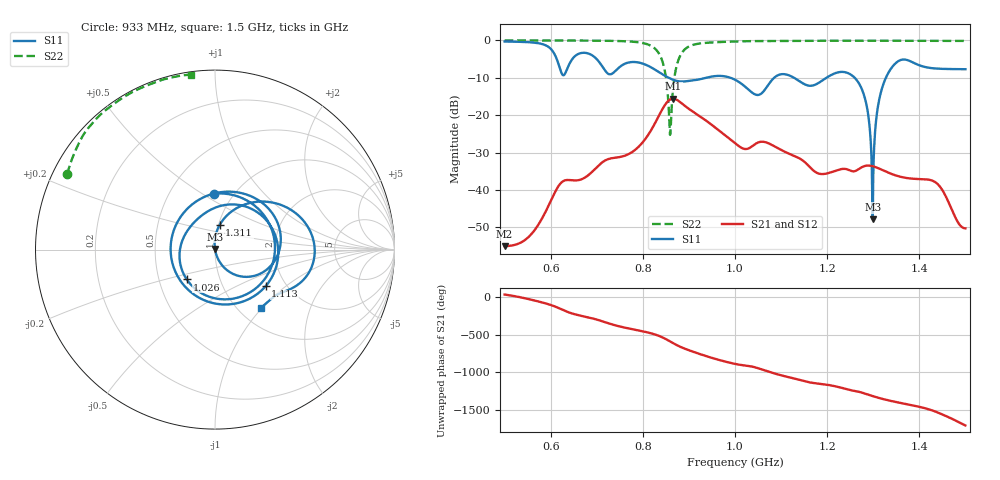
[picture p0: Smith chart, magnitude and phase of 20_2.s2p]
! TOUCHSTONE file generated by CST MICROWAVE STUDIO
! Date and time: Mon Nov 30 09:08:24 2020
! Project name: Scenario_1_Planar_Body_Tissue_Out_of_Line_v2.cst
! Parameters = {dy1=-17.3; L_HA=400; Ltissue=700; MT=2.54; Rad_Dielectric=30; Rad_Lower=7.3; Rad_Upper=30; Wtissue=700; a_HA=580; a_WG=246; b_HA=500; b_WG=121; c_HA=0; c_WG=187; d_feed=85; dx1=346; h_feed=15; h_lower=18; h_upper=40; hfat=3; hgap=25; hmuscle=50; hskin=1.5}
! Header version: 2018
! Port assignment regex: !\s*Touchstone port\s*([0-9]+)\s*=\s*(CST MWS port|CST DS port)\s*([0-9]+|Zmin|Zmax)\s*\(\"(.*)\"\)(\s*mode\s*([0-9]+))?.*
! Touchstone port assignment:
! Touchstone port 1 = CST MWS port 1 ("")
! Touchstone port 2 = CST MWS port 2 ("")
# GHz S DB R 50
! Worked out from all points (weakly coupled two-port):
!   1003 points, 500 MHz to 1.5 GHz, reference 50 ohm
!   highest |S21| = -15.58 dB at 866 MHz (marker M1); lowest = -55.0 dB at 500 MHz (marker M2)
!   lowest |S11| = -47.8 dB at 1.299 GHz (marker M3), VSWR 1.01, Z = 50 + j0.405 ohm
!   |S11| at or under -10 dB: 856.2 MHz to 937.2 MHz (80.98 MHz wide, 9.03 % of centre); 990.3 MHz to 1.085 GHz (94.6 MHz wide, 9.12 % of centre); 1.128 GHz to 1.198 GHz (70.21 MHz wide, 6.04 % of centre)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
!   |S22| runs from -25.3 to 0.0 dB; largest |S21 - S12| = 1.2e-05
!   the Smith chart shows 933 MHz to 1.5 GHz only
!   S11 on the Smith chart (normalised r, x): 933 MHz: 0.82, +0.56; 1.026 GHz: 0.69, -0.24; 1.113 GHz: 1.58, -0.73; 1.311 GHz: 1.01, +0.28; 1.5 GHz: 1.26, -0.98
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0.5  -0.30 -121.7  -55.05 36.0  -55.05 36.0  -0.01 151.1
0.667  -3.35 156.8  -37.14 112.0  -37.14 112.0  -0.04 138.4
0.694  -4.33 102.4  -34.66 73.6  -34.66 73.6  -0.06 135.5
0.716  -7.70 26.2  -32.27 32.7  -32.27 32.7  -0.09 132.8
0.74  -8.22 -95.0  -31.38 -12.9  -31.38 -12.9  -0.14 129.3
0.769  -5.91 176.0  -30.42 -54.4  -30.42 -54.4  -0.27 123.4
0.801  -6.25 104.7  -27.06 -94.8  -27.06 -94.8  -0.73 112.3
0.834  -8.41 26.4  -20.34 -151.2  -20.34 -151.2  -3.31 85.6
0.858  -10.11 -41.5  -15.90 136.7  -15.90 136.7  -22.96 -0.1
0.866  -10.53 -66.7  -15.58 108.9  -15.58 108.9  -12.39 -135.5
0.933  -10.13 90.8  -21.08 -53.9  -21.08 -53.9  -0.69 153.0
1  -10.51 -62.2  -27.48 -166.2  -27.48 -166.2  -0.28 140.3
1.026  -12.81 -133.3  -29.03 169.5  -29.03 169.5  -0.20 137.0
1.075  -11.40 69.3  -27.65 85.8  -27.65 85.8  -0.14 132.0
1.113  -9.17 -35.9  -30.08 22.5  -30.08 22.5  -0.11 128.5
1.167  -12.10 172.1  -34.45 -57.3  -34.45 -57.3  -0.10 124.2
1.207  -9.37 70.6  -35.33 -90.5  -35.33 -90.5  -0.09 121.1
1.263  -10.43 -23.7  -34.84 -169.0  -34.84 -169.0  -0.08 116.9
1.299  -47.84 92.2  -33.66 125.4  -33.66 125.4  -0.08 114.1
1.311  -17.10 79.3  -34.19 103.5  -34.19 103.5  -0.09 113.2
1.334  -8.42 44.9  -35.44 67.6  -35.44 67.6  -0.09 111.5
1.5  -7.70 -51.7  -50.30 95.4  -50.30 95.4  -0.13 97.9
